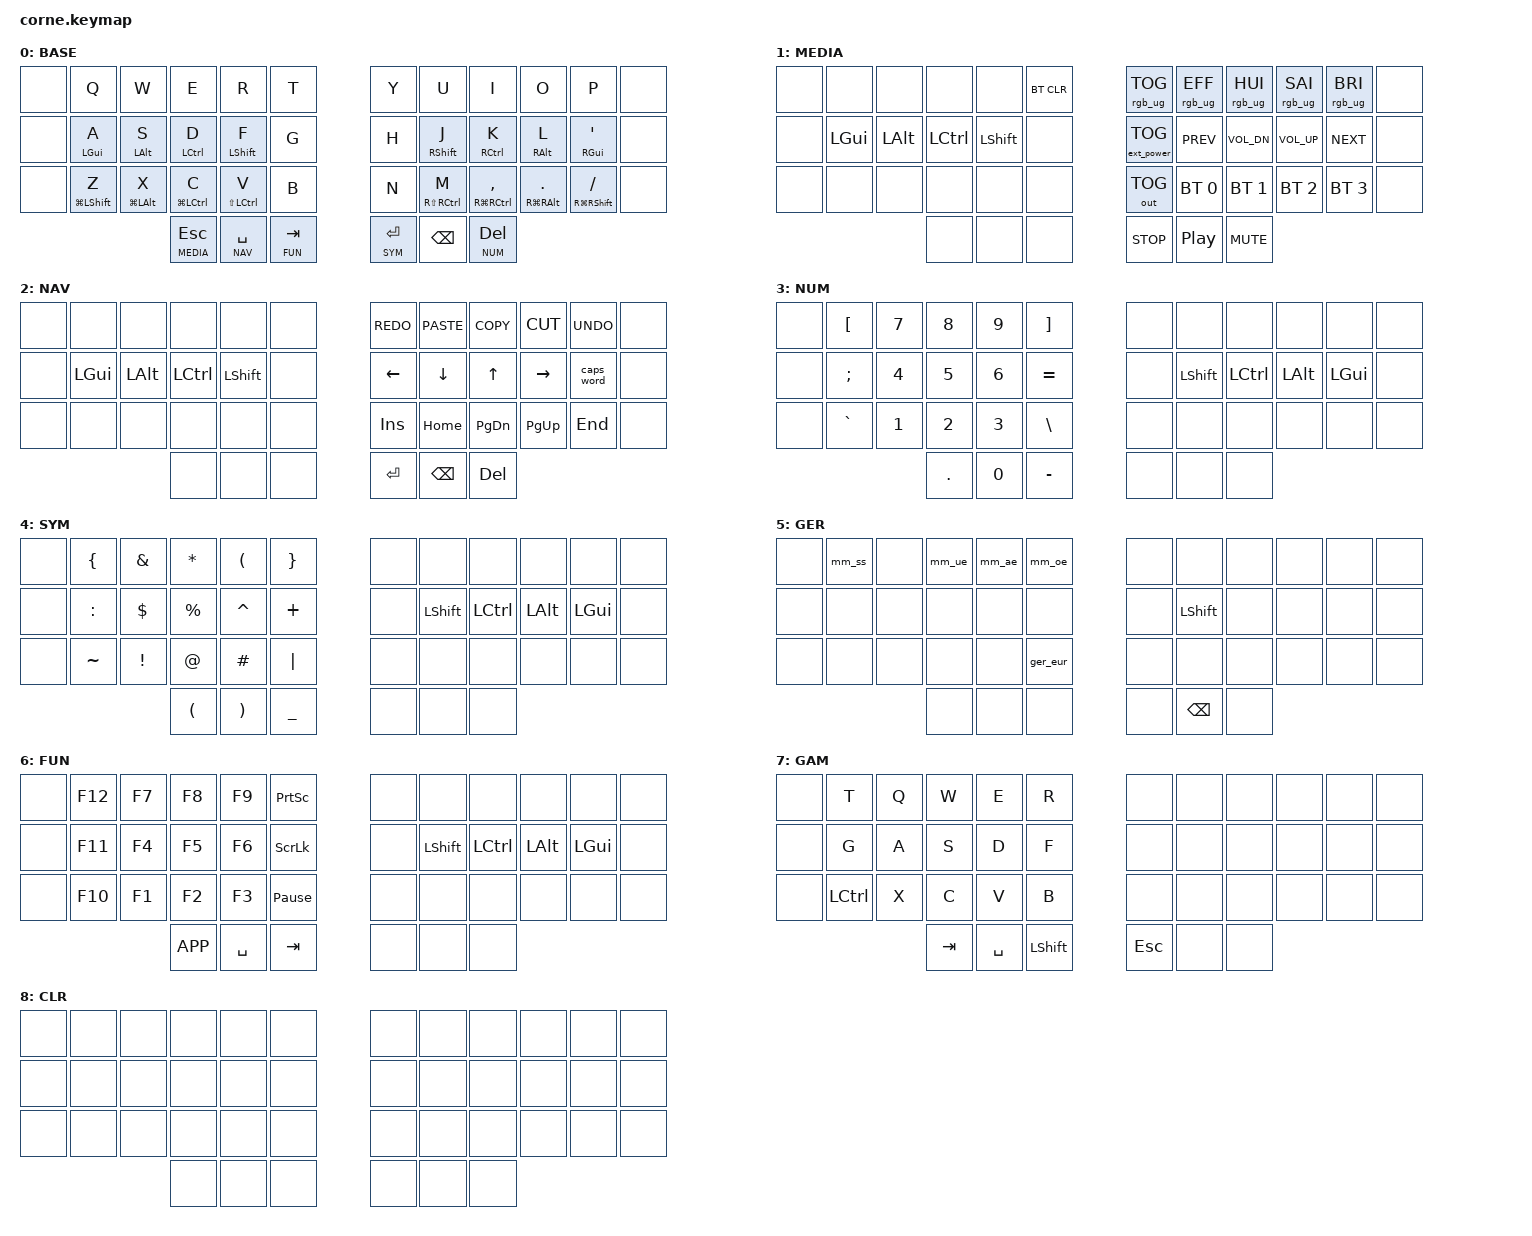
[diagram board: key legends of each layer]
/*
 * Copyright (c) 2020 The ZMK Contributors
 *
 * SPDX-License-Identifier: MIT
 */

#include <behaviors.dtsi>
#include <dt-bindings/zmk/keys.h>
#include <dt-bindings/zmk/rgb.h>
#include <dt-bindings/zmk/ext_power.h>
#include <dt-bindings/zmk/outputs.h>
#include <dt-bindings/zmk/bt.h>

#define BASE 0
#define MEDIA 1
#define NAV 2
#define NUM 3
#define SYM 4
#define GER 5
#define FUN 6
#define GAM 7
#define CLR 8



// Deutsche Sonderzeichen via Compose-Taste.
// Setzt voraus (Linux): kb_options enthaelt compose:caps -> CapsLock = Compose.
/ {
    macros {
        ger_ae: ger_ae { compatible = "zmk,behavior-macro"; #binding-cells = <0>; wait-ms = <5>; tap-ms = <5>; bindings = <&kp CAPS>, <&kp DQT>, <&kp A>; };       // ä
        ger_ae_up: ger_ae_up { compatible = "zmk,behavior-macro"; #binding-cells = <0>; wait-ms = <5>; tap-ms = <5>; bindings = <&kp CAPS>, <&kp DQT>, <&kp LS(A)>; };   // Ä
        ger_oe: ger_oe { compatible = "zmk,behavior-macro"; #binding-cells = <0>; wait-ms = <5>; tap-ms = <5>; bindings = <&kp CAPS>, <&kp DQT>, <&kp O>; };       // ö
        ger_oe_up: ger_oe_up { compatible = "zmk,behavior-macro"; #binding-cells = <0>; wait-ms = <5>; tap-ms = <5>; bindings = <&kp CAPS>, <&kp DQT>, <&kp LS(O)>; };   // Ö
        ger_ue: ger_ue { compatible = "zmk,behavior-macro"; #binding-cells = <0>; wait-ms = <5>; tap-ms = <5>; bindings = <&kp CAPS>, <&kp DQT>, <&kp U>; };       // ü
        ger_ue_up: ger_ue_up { compatible = "zmk,behavior-macro"; #binding-cells = <0>; wait-ms = <5>; tap-ms = <5>; bindings = <&kp CAPS>, <&kp DQT>, <&kp LS(U)>; };   // Ü
        ger_ss: ger_ss { compatible = "zmk,behavior-macro"; #binding-cells = <0>; wait-ms = <5>; tap-ms = <5>; bindings = <&kp CAPS>, <&kp S>, <&kp S>; };         // ß
        ger_ss_up: ger_ss_up { compatible = "zmk,behavior-macro"; #binding-cells = <0>; wait-ms = <5>; tap-ms = <5>; bindings = <&kp CAPS>, <&kp LS(S)>, <&kp LS(S)>; }; // ẞ
        ger_eur: ger_eur { compatible = "zmk,behavior-macro"; #binding-cells = <0>; wait-ms = <5>; tap-ms = <5>; bindings = <&kp CAPS>, <&kp E>, <&kp EQUAL>; };   // €
    };
};

// Mod-Morph: ohne Shift Kleinbuchstabe, mit Shift Grossbuchstabe
/ {
    behaviors {
        mm_ae: mm_ae { compatible = "zmk,behavior-mod-morph"; #binding-cells = <0>; bindings = <&ger_ae>, <&ger_ae_up>; mods = <(MOD_LSFT|MOD_RSFT)>; };
        mm_oe: mm_oe { compatible = "zmk,behavior-mod-morph"; #binding-cells = <0>; bindings = <&ger_oe>, <&ger_oe_up>; mods = <(MOD_LSFT|MOD_RSFT)>; };
        mm_ue: mm_ue { compatible = "zmk,behavior-mod-morph"; #binding-cells = <0>; bindings = <&ger_ue>, <&ger_ue_up>; mods = <(MOD_LSFT|MOD_RSFT)>; };
        mm_ss: mm_ss { compatible = "zmk,behavior-mod-morph"; #binding-cells = <0>; bindings = <&ger_ss>, <&ger_ss_up>; mods = <(MOD_LSFT|MOD_RSFT)>; };
    };
};

/ {
    combos {
        compatible = "zmk,combos";
        combo_ger {
            timeout-ms = <50>;
            key-positions = <37 40>;
            bindings = <&tog GER>;
        };
    };
};

/ {
    combos {
        compatible = "zmk,combos";
        combo_gam {
            timeout-ms = <50>;
            key-positions = <36 41>;
            bindings = <&tog GAM>;
        };
    };
};


/ {
     // Homerow Mod
     behaviors {
          bhm: balanced_homerow_mods {
               compatible = "zmk,behavior-hold-tap";
               label = "HOMEROW_MODS";
               #binding-cells = <2>;
               tapping-term-ms = <200>;    // <---[[moderate duration]]
               quick-tap-ms = <0>;
               flavor = "balanced";
               bindings = <&kp>, <&kp>;
          };
     };

          keymap {
               compatible = "zmk,keymap";

               base_layer {
               label = "BASE";
                        bindings = <
// ╭───────┬───────────────────┬───────────────────┬───────────────────┬───────────────────┬────────────────╮   ╭────────────────┬───────────────────┬────────────────────────┬────────────────────────┬────────────────────────┬───────╮
     &none   &kp Q               &kp W               &kp E               &kp R               &kp T                &kp Y            &kp U               &kp I                    &kp O                    &kp P                    &none
// ├───────┼───────────────────┼───────────────────┼───────────────────┼───────────────────┼────────────────┤   ├────────────────┼───────────────────┼────────────────────────┼────────────────────────┼────────────────────────┼───────┤
     &none   &bhm LGUI A         &bhm LALT S         &bhm LCTRL D        &bhm LSHIFT F       &kp G                &kp H            &bhm RSHIFT J       &bhm RCTRL K             &bhm RALT L              &bhm RGUI SQT            &none
// ├───────┼───────────────────┼───────────────────┼───────────────────┼───────────────────┼────────────────┤   ├────────────────┼───────────────────┼────────────────────────┼────────────────────────┼────────────────────────┼───────┤
     &none   &bhm LG(LSHFT) Z    &bhm LG(LALT) X     &bhm LG(LCTRL) C    &bhm LS(LCTRL) V    &kp B                &kp N            &bhm RS(RCTRL) M    &bhm RG(RCTRL) COMMA     &bhm RG(RALT) DOT        &bhm RG(RSHFT) FSLH      &none
// ├───────┼───────────────────┼───────────────────┼───────────────────┼───────────────────┼────────────────┤   ├────────────────┼───────────────────┼────────────────────────┼────────────────────────┼────────────────────────┼───────┤
                                                      &lt MEDIA ESC       &lt NAV SPACE       &lt FUN TAB         &lt SYM RET      &kp BSPC            &lt NUM DELETE
//                                                  ╰───────────────────┴───────────────────┴───────────────╯   ╰────────────────┴───────────────────┴─────────────────────────╯
                        >;
                };

                media_layer {
                        label = "MEDIA";
                        bindings = <
// ╭───────┬────────────────┬────────────────┬────────────────┬────────────────┬────────────────╮   ╭────────────────────┬────────────────────┬────────────────────┬────────────────────┬────────────────────┬───────╮
     &none   &none            &none            &none            &none            &bt BT_CLR           &rgb_ug RGB_TOG      &rgb_ug RGB_EFF      &rgb_ug RGB_HUI      &rgb_ug RGB_SAI      &rgb_ug RGB_BRI      &none
// ├───────┼────────────────┼────────────────┼────────────────┼────────────────┼────────────────┤   ├────────────────────┼────────────────────┼────────────────────┼────────────────────┼────────────────────┼───────┤
     &none   &kp LGUI         &kp LALT         &kp LCTRL        &kp LSHIFT       &none                &ext_power EP_TOG    &kp C_PREV           &kp C_VOL_DN         &kp C_VOL_UP         &kp C_NEXT           &none 
// ├───────┼────────────────┼────────────────┼────────────────┼────────────────┼────────────────┤   ├────────────────────┼────────────────────┼────────────────────┼────────────────────┼────────────────────┼───────┤
     &none   &none            &none            &none            &none            &none                &out OUT_TOG         &bt BT_SEL 0         &bt BT_SEL 1         &bt BT_SEL 2         &bt BT_SEL 3         &none
// ├───────┼────────────────┼────────────────┼────────────────┼────────────────┼────────────────┤   ├────────────────────┼────────────────────┼────────────────────┼────────────────────┼────────────────────┼───────┤
                                               &none            &none            &none                &kp C_STOP           &kp C_PP             &kp C_MUTE
//                                           ╰────────────────┴────────────────┴───────────────╯   ╰─────────────────────┴────────────────────┴────────────────────╯
                        >;
                };

                nav_layer {
                        label = "NAV";
                        bindings = <
// ╭───────┬────────────────┬────────────────┬────────────────┬────────────────┬────────────────╮   ╭────────────────┬────────────────┬────────────────┬────────────────┬────────────────┬───────╮
     &none   &none            &none            &none            &none            &none                &kp K_REDO       &kp K_PASTE      &kp K_COPY       &kp K_CUT        &kp K_UNDO       &none
// ├───────┼────────────────┼────────────────┼────────────────┼────────────────┼────────────────┤   ├────────────────┼────────────────┼────────────────┼────────────────┼────────────────┼───────┤
     &none   &kp LGUI         &kp LALT         &kp LCTRL        &kp LSHIFT       &none                &kp LEFT         &kp DOWN         &kp UP           &kp RIGHT        &caps_word	   &none
// ├───────┼────────────────┼────────────────┼────────────────┼────────────────┼────────────────┤   ├────────────────┼────────────────┼────────────────┼────────────────┼────────────────┼───────┤
     &none   &none            &none            &none            &none            &none                &kp INS          &kp HOME         &kp PG_DN        &kp PG_UP        &kp END          &none
// ├───────┼────────────────┼────────────────┼────────────────┼────────────────┼────────────────┤   ├────────────────┼────────────────┼────────────────┼────────────────┼────────────────┼───────┤
                                               &none            &none            &none                &kp RET          &kp BSPC         &kp DEL
//                                            ╰────────────────┴────────────────┴───────────────╯   ╰────────────────┴────────────────┴────────────────╯
                        >;
                };

                num_layer {
                        label = "NUM";
                        bindings = <
// ╭───────┬────────────────┬────────────────┬────────────────┬────────────────┬────────────────╮   ╭────────────────┬────────────────┬────────────────┬────────────────┬────────────────┬───────╮
     &none   &kp LBKT         &kp N7           &kp N8           &kp N9           &kp RBKT             &none            &none            &none            &none            &none            &none
// ├───────┼────────────────┼────────────────┼────────────────┼────────────────┼────────────────┤   ├────────────────┼────────────────┼────────────────┼────────────────┼────────────────┼───────┤
     &none   &kp SEMI         &kp N4           &kp N5           &kp N6           &kp EQUAL            &none            &kp LSHIFT       &kp LCTRL        &kp LALT         &kp LGUI         &none
// ├───────┼────────────────┼────────────────┼────────────────┼────────────────┼────────────────┤   ├────────────────┼────────────────┼────────────────┼────────────────┼────────────────┼───────┤
     &none   &kp GRAVE        &kp N1           &kp N2           &kp N3           &kp BSLH             &none            &none            &none            &none            &none            &none
// ├───────┼────────────────┼────────────────┼────────────────┼────────────────┼────────────────┤   ├────────────────┼────────────────┼────────────────┼────────────────┼────────────────┼───────┤
                                               &kp DOT          &kp N0           &kp MINUS            &none            &none            &none
//                                           ╰────────────────┴────────────────┴────────────────╯   ╰────────────────┴────────────────┴────────────────╯
                        >;
                };

                sym_layer {
                        label = "SYM";
                        bindings = <
// ╭───────┬────────────────┬────────────────┬────────────────┬────────────────┬────────────────╮   ╭────────────────┬────────────────┬────────────────┬────────────────┬────────────────┬───────╮
     &none   &kp LBRC         &kp AMPS         &kp ASTRK        &kp LPAR         &kp RBRC             &none            &none            &none            &none            &none            &none
// ├───────┼────────────────┼────────────────┼────────────────┼────────────────┼────────────────┤   ├────────────────┼────────────────┼────────────────┼────────────────┼────────────────┼───────┤
     &none   &kp COLON        &kp DLLR         &kp PRCNT        &kp CARET        &kp PLUS             &none            &kp LSHIFT       &kp LCTRL        &kp LALT         &kp LGUI         &none
// ├───────┼────────────────┼────────────────┼────────────────┼────────────────┼────────────────┤   ├────────────────┼────────────────┼────────────────┼────────────────┼────────────────┼───────┤
     &none   &kp TILDE        &kp EXCL         &kp AT           &kp HASH         &kp PIPE             &none            &none            &none            &none            &none            &none
// ├───────┼────────────────┼────────────────┼────────────────┼────────────────┼────────────────┤   ├────────────────┼────────────────┼────────────────┼────────────────┼────────────────┼───────┤
                                               &kp LPAR         &kp RPAR         &kp UNDER            &none            &none            &none
//                                           ╰────────────────┴────────────────┴────────────────╯   ╰────────────────┴────────────────┴────────────────╯
                        >;
                };

                german_layer {
                        label = "GER";
                        bindings = <
// ╭───────┬────────────────┬────────────────┬────────────────┬────────────────┬────────────────╮   ╭────────────────┬────────────────┬────────────────┬────────────────┬────────────────┬───────╮
     &none   &mm_ss           &none            &mm_ue           &mm_ae           &mm_oe               &none            &none            &none            &none            &none            &none
// ├───────┼────────────────┼────────────────┼────────────────┼────────────────┼────────────────┤   ├────────────────┼────────────────┼────────────────┼────────────────┼────────────────┼───────┤
     &none   &none            &none            &none            &none            &none                &none            &kp LSHIFT       &none            &none            &none            &none
// ├───────┼────────────────┼────────────────┼────────────────┼────────────────┼────────────────┤   ├────────────────┼────────────────┼────────────────┼────────────────┼────────────────┼───────┤
     &none   &none            &none            &none            &none            &ger_eur             &none            &none            &none            &none            &none            &none
// ├───────┼────────────────┼────────────────┼────────────────┼────────────────┼────────────────┤   ├────────────────┼────────────────┼────────────────┼────────────────┼────────────────┼───────┤
                                               &none            &none            &none                &none            &kp BSPC         &none
//                                           ╰────────────────┴────────────────┴────────────────╯   ╰────────────────┴────────────────┴────────────────╯
                        >;
                };

                fun_layer {
                        label = "FUN";
                        bindings = <
// ╭───────┬────────────────┬────────────────┬────────────────┬────────────────┬────────────────╮   ╭────────────────┬────────────────┬────────────────┬────────────────┬────────────────┬───────╮
     &none   &kp F12          &kp F7           &kp F8           &kp F9           &kp PSCRN             &none            &none            &none            &none            &none           &none
// ├───────┼────────────────┼────────────────┼────────────────┼────────────────┼────────────────┤   ├────────────────┼────────────────┼────────────────┼────────────────┼────────────────┼───────┤
     &none   &kp F11          &kp F4           &kp F5           &kp F6           &kp SLCK              &none            &kp LSHIFT       &kp LCTRL        &kp LALT         &kp LGUI        &none
// ├───────┼────────────────┼────────────────┼────────────────┼────────────────┼────────────────┤   ├────────────────┼────────────────┼────────────────┼────────────────┼────────────────┼───────┤
     &none   &kp F10          &kp F1           &kp F2           &kp F3           &kp PAUSE_BREAK       &none            &none            &none            &none            &none           &none
// ├───────┼────────────────┼────────────────┼────────────────┼────────────────┼────────────────┤   ├────────────────┼────────────────┼────────────────┼────────────────┼────────────────┼───────┤
                                               &kp K_APP        &kp SPACE        &kp TAB               &none            &none            &none
//                                           ╰────────────────┴────────────────┴────────────────╯   ╰────────────────┴────────────────┴────────────────╯
                        >;
                };

                game_layer {
                        label = "GAM";
                        bindings = <
// ╭────────────────┬────────────────┬────────────────┬────────────────┬────────────────┬────────────────╮   ╭────────────────┬────────────────┬────────────────┬────────────────┬────────────────┬────────────────╮
     &none            &kp T            &kp Q            &kp W           &kp E            &kp R                &none            &none            &none            &none            &none            &none
// ├────────────────┼────────────────┼────────────────┼────────────────┼────────────────┼────────────────┤   ├────────────────┼────────────────┼────────────────┼────────────────┼────────────────┼────────────────┤
     &none            &kp G            &kp A            &kp S           &kp D            &kp F                &none            &none            &none            &none            &none            &none
// ├────────────────┼────────────────┼────────────────┼────────────────┼────────────────┼────────────────┤   ├────────────────┼────────────────┼────────────────┼────────────────┼────────────────┼────────────────┤
     &none            &kp LCTRL        &kp X            &kp C           &kp V            &kp B                &none            &none            &none            &none            &none            &none
// ├────────────────┼────────────────┼────────────────┼────────────────┼────────────────┼────────────────┤   ├────────────────┼────────────────┼────────────────┼────────────────┼────────────────┼────────────────┤
                                                        &kp TAB         &kp SPACE        &kp LSHIFT           &kp ESC          &none            &none
//                                                    ╰────────────────┴────────────────┴───────────────╯   ╰────────────────┴────────────────┴────────────────╯
                        >;
                };

                clear_layer {
                        label = "CLR";
                        bindings = <
// ╭────────────────┬────────────────┬────────────────┬────────────────┬────────────────┬────────────────╮   ╭────────────────┬────────────────┬────────────────┬────────────────┬────────────────┬────────────────╮
     &none            &none            &none            &none            &none            &none                &none            &none            &none            &none            &none            &none
// ├────────────────┼────────────────┼────────────────┼────────────────┼────────────────┼────────────────┤   ├────────────────┼────────────────┼────────────────┼────────────────┼────────────────┼────────────────┤
     &none            &none            &none            &none            &none            &none                &none            &none           &none             &none            &none            &none
// ├────────────────┼────────────────┼────────────────┼────────────────┼────────────────┼────────────────┤   ├────────────────┼────────────────┼────────────────┼────────────────┼────────────────┼────────────────┤
     &none            &none            &none            &none            &none            &none                &none            &none            &none            &none            &none            &none
// ├────────────────┼────────────────┼────────────────┼────────────────┼────────────────┼────────────────┤   ├────────────────┼────────────────┼────────────────┼────────────────┼────────────────┼────────────────┤
                                                        &none            &none            &none                &none            &none            &none
//                                                    ╰────────────────┴────────────────┴───────────────╯   ╰────────────────┴────────────────┴────────────────╯
                        >;
                };

        };
};
